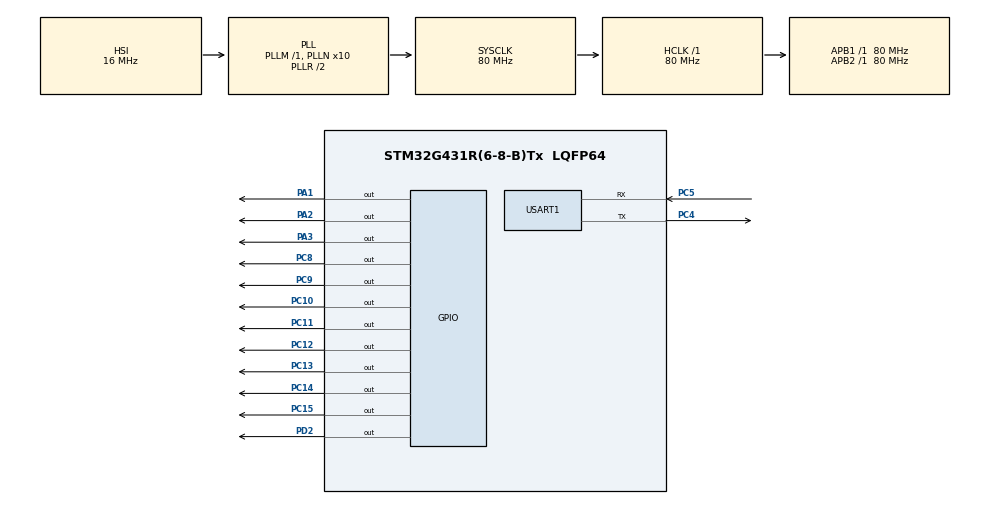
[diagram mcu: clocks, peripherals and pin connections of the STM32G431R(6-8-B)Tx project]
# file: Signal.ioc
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Mcu.Family=STM32G4
Mcu.Name=STM32G431R(6-8-B)Tx
Mcu.Package=LQFP64
NVIC.PriorityGroup=NVIC_PRIORITYGROUP_4
NVIC.TIM6_DAC_IRQn=true\:0\:0\:false\:false\:true\:true\:true\:true
NVIC.TIM7_IRQn=true\:0\:0\:false\:false\:true\:true\:true\:true
NVIC.USART1_IRQn=true\:0\:0\:false\:false\:true\:true\:true\:true
PA1.GPIO_Speed=GPIO_SPEED_FREQ_LOW
PA1.Signal=GPIO_Output
PA13.Mode=Serial_Wire
PA13.Signal=SYS_JTMS-SWDIO
PA14.Mode=Serial_Wire
PA14.Signal=SYS_JTCK-SWCLK
PA2.GPIO_Speed=GPIO_SPEED_FREQ_LOW
PA2.Signal=GPIO_Output
PA3.GPIO_Speed=GPIO_SPEED_FREQ_LOW
PA3.Signal=GPIO_Output
PC10.Signal=GPIO_Output
PC11.Signal=GPIO_Output
PC12.Signal=GPIO_Output
PC13.Signal=GPIO_Output
PC14-OSC32_IN.Signal=GPIO_Output
PC15-OSC32_OUT.Signal=GPIO_Output
PC4.Mode=Asynchronous
PC4.Signal=USART1_TX
PC5.Mode=Asynchronous
PC5.Signal=USART1_RX
PC8.Signal=GPIO_Output
PC9.Signal=GPIO_Output
PD2.Signal=GPIO_Output
PF0-OSC_IN.Mode=HSE-External-Oscillator
PF0-OSC_IN.Signal=RCC_OSC_IN
PF1-OSC_OUT.Mode=HSE-External-Oscillator
PF1-OSC_OUT.Signal=RCC_OSC_OUT
ProjectManager.HeapSize=0x200
ProjectManager.StackSize=0x400
ProjectManager.TargetToolchain=MDK-ARM V5
RCC.ADC12Freq_Value=80000000
RCC.AHBFreq_Value=80000000
RCC.APB1Freq_Value=80000000
RCC.APB1TimFreq_Value=80000000
RCC.APB2Freq_Value=80000000
RCC.APB2TimFreq_Value=80000000
RCC.CortexFreq_Value=80000000
RCC.EXTERNAL_CLOCK_VALUE=12288000
RCC.HCLKFreq_Value=80000000
RCC.HSE_VALUE=8000000
RCC.HSI48_VALUE=48000000
RCC.HSI_VALUE=16000000
RCC.LSE_VALUE=32768
RCC.PLLN=10
RCC.SYSCLKFreq_VALUE=80000000
RCC.SYSCLKSource=RCC_SYSCLKSOURCE_PLLCLK
RCC.USBFreq_Value=80000000
RCC.VCOOutputFreq_Value=160000000
TIM6.AutoReloadPreload=TIM_AUTORELOAD_PRELOAD_ENABLE
TIM6.PeriodNoDither=9999
TIM6.Prescaler=7999
TIM7.AutoReloadPreload=TIM_AUTORELOAD_PRELOAD_ENABLE
TIM7.PeriodNoDither=999
TIM7.Prescaler=79
USART1.VirtualMode-Asynchronous=VM_ASYNC
VP_SYS_VS_DBSignals.Mode=DisableDeadBatterySignals
VP_TIM6_VS_ClockSourceINT.Mode=Enable_Timer
VP_TIM7_VS_ClockSourceINT.Mode=Enable_Timer
board=custom

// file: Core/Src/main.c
/* USER CODE BEGIN Header */
/**
  ******************************************************************************
  * @file           : main.c
  * @brief          : Main program body
  ******************************************************************************
  * @attention
  *
  * Copyright (c) 2023 STMicroelectronics.
  * All rights reserved.
  *
  * This software is licensed under terms that can be found in the LICENSE file
  * in the root directory of this software component.
  * If no LICENSE file comes with this software, it is provided AS-IS.
  *
  ******************************************************************************
  */
/* USER CODE END Header */
#include "main.h"
#include "tim.h"
#include "usart.h"
#include "gpio.h"

/* USER CODE BEGIN Includes */

#include <stdio.h>
#include <stdbool.h>
#include <stdlib.h>
#include <string.h>
#include <stdarg.h>
#include "lcd.h"

/* USER CODE END Includes */

/* USER CODE BEGIN PTD */

typedef struct _DelayedAction {
	uint32_t 		delay;
	void			(*invoke)(void);
	bool			active;
	void *			next;
	void *			prev;
	void *			activate;
} DelayedAction;

/* USER CODE END PTD */

/* USER CODE BEGIN PD */

#define lds(x, s)\
	HAL_GPIO_WritePin(GPIOC, 0x80 << x, s);\
	HAL_GPIO_WritePin(GPIOD, GPIO_PIN_2, GPIO_PIN_SET);\
	HAL_GPIO_WritePin(GPIOD, GPIO_PIN_2, GPIO_PIN_RESET)

/* USER CODE END PD */

/* USER CODE BEGIN PV */

uint8_t segNum[10] = {0x3F, 0x06, 0x5B, 0x4F, 0x66, 0x6D, 0x7D, 0x07, 0x7F, 0x6F};
DelayedAction *firstAct = NULL;
DelayedAction *lastAct	= NULL;

uint8_t countdown = 0;
uint8_t ldn = 0;

/* USER CODE END PV */

void SystemClock_Config(void);
/* USER CODE BEGIN PFP */

void segShow(uint8_t, uint8_t, uint8_t);
DelayedAction *new_delay(bool, uint32_t, void(*)(void), DelayedAction *);
void appendWork(void);
void aPass(void);
void aStop(void);
void bPass(void);
void bStop(void);

/* USER CODE END PFP */

int main(void)
{

  /* MCU Configuration--------------------------------------------------------*/

  /* Reset of all peripherals, Initializes the Flash interface and the Systick. */
  HAL_Init();

  /* Configure the system clock */
  SystemClock_Config();

  /* Initialize all configured peripherals */
  MX_GPIO_Init();
  MX_TIM6_Init();
  MX_TIM7_Init();
  MX_USART1_UART_Init();
  /* USER CODE BEGIN 2 */

	HAL_GPIO_WritePin(GPIOD, GPIO_PIN_2, GPIO_PIN_RESET);

	LCD_Init();
	LCD_SetBackColor(Black);
	LCD_SetTextColor(White);
	LCD_Clear(Black);
	LCD_DisplayStringLine(Line3, (uint8_t *)"    Signal info");

	lds(1, 0);
	lds(2, 0);
	lds(3, 0);
	lds(4, 0);
	lds(5, 0);
	lds(6, 1);
	lds(7, 1);
	lds(8, 1);

	aPass();
	LCD_DisplayStringLine(Line7, (uint8_t *)"    B: Stop  ");
//	if(!new_delay( true,  1000, (Function *)aPass, NULL)) LCD_DisplayStringLine(Line9, (uint8_t *)"MALLOC FAILED");
	if(!new_delay( true, 44000, aStop, NULL)) LCD_DisplayStringLine(Line9, (uint8_t *)"MALLOC FAILED");
	if(!new_delay(false,  5000, bPass, lastAct)) LCD_DisplayStringLine(Line9, (uint8_t *)"MALLOC FAILED");
	if(!new_delay(false, 25000, bStop, lastAct)) LCD_DisplayStringLine(Line9, (uint8_t *)"MALLOC FAILED");

	HAL_Delay(32);

	HAL_TIM_Base_Start_IT(&htim6);
	HAL_TIM_Base_Start_IT(&htim7);
  /* USER CODE END 2 */

  /* Infinite loop */
  while (1)
  {

  }
}

void SystemClock_Config(void)
{
  RCC_OscInitTypeDef RCC_OscInitStruct = {0};
  RCC_ClkInitTypeDef RCC_ClkInitStruct = {0};

  /** Configure the main internal regulator output voltage
  */
  HAL_PWREx_ControlVoltageScaling(PWR_REGULATOR_VOLTAGE_SCALE1);

  /** Initializes the RCC Oscillators according to the specified parameters
  * in the RCC_OscInitTypeDef structure.
  */
  RCC_OscInitStruct.OscillatorType = RCC_OSCILLATORTYPE_HSI;
  RCC_OscInitStruct.HSIState = RCC_HSI_ON;
  RCC_OscInitStruct.HSICalibrationValue = RCC_HSICALIBRATION_DEFAULT;
  RCC_OscInitStruct.PLL.PLLState = RCC_PLL_ON;
  RCC_OscInitStruct.PLL.PLLSource = RCC_PLLSOURCE_HSI;
  RCC_OscInitStruct.PLL.PLLM = RCC_PLLM_DIV1;
  RCC_OscInitStruct.PLL.PLLN = 10;
  RCC_OscInitStruct.PLL.PLLP = RCC_PLLP_DIV2;
  RCC_OscInitStruct.PLL.PLLQ = RCC_PLLQ_DIV2;
  RCC_OscInitStruct.PLL.PLLR = RCC_PLLR_DIV2;
  if (HAL_RCC_OscConfig(&RCC_OscInitStruct) != HAL_OK)
  {
    Error_Handler();
  }

  /** Initializes the CPU, AHB and APB buses clocks
  */
  RCC_ClkInitStruct.ClockType = RCC_CLOCKTYPE_HCLK|RCC_CLOCKTYPE_SYSCLK
                              |RCC_CLOCKTYPE_PCLK1|RCC_CLOCKTYPE_PCLK2;
  RCC_ClkInitStruct.SYSCLKSource = RCC_SYSCLKSOURCE_PLLCLK;
  RCC_ClkInitStruct.AHBCLKDivider = RCC_SYSCLK_DIV1;
  RCC_ClkInitStruct.APB1CLKDivider = RCC_HCLK_DIV1;
  RCC_ClkInitStruct.APB2CLKDivider = RCC_HCLK_DIV1;

  if (HAL_RCC_ClockConfig(&RCC_ClkInitStruct, FLASH_LATENCY_2) != HAL_OK)
  {
    Error_Handler();
  }
}

/* USER CODE BEGIN 4 */

void appendWork() {
	if(!new_delay(false,  5000, aPass, lastAct)) LCD_DisplayStringLine(Line9, (uint8_t *)"MALLOC FAILED");
	if(!new_delay(false, 45000, aStop, lastAct)) LCD_DisplayStringLine(Line9, (uint8_t *)"MALLOC FAILED");
	if(!new_delay(false,  5000, bPass, lastAct)) LCD_DisplayStringLine(Line9, (uint8_t *)"MALLOC FAILED");
	if(!new_delay(false, 25000, bStop, lastAct)) LCD_DisplayStringLine(Line9, (uint8_t *)"MALLOC FAILED");
}

void HAL_TIM_PeriodElapsedCallback(TIM_HandleTypeDef *htim) {
	if(htim->Instance == TIM6) { //seg update timer, 1Hz
		if(countdown) --countdown;
		int cd10 = countdown / 10;
		segShow(0x00, cd10 ? segNum[cd10] : 0x00, segNum[countdown % 10]);
		if(ldn) lds(ldn--, 1);
		HAL_TIM_Base_Start_IT(&htim6);
	}
	if(htim->Instance == TIM7) { //delay handler timer, 1kHz
		DelayedAction *temp = NULL;
		DelayedAction *act  = NULL;
		if(firstAct == NULL) return;
		if(firstAct->active) {
			if(--(firstAct->delay) == 0) {
				firstAct->invoke();
				if(firstAct->activate) 	((DelayedAction *)firstAct->activate)->active = true;
				if(firstAct->next)		((DelayedAction *)firstAct->next)->prev = NULL;
				else					lastAct = NULL;
				temp = (DelayedAction *)firstAct->next;
				free(firstAct);
				firstAct = temp;
			}
			else temp = (DelayedAction *)firstAct->next;
		}
		else temp = (DelayedAction *)firstAct->next;

		while(temp) {
			if(temp->active) {
				if(--(temp->delay) == 0) {
					temp->invoke();
					act = temp;
					if(act->activate) 	((DelayedAction *)act->activate)->active = true;
					if(act->prev)		((DelayedAction *)act->prev)->next = act->next;
					if(act->next)		((DelayedAction *)act->next)->prev = act->prev;
					else				lastAct = NULL;
					temp = (DelayedAction *)act->next;
					free(act);
					act = NULL;
				}
				else temp = (DelayedAction *)temp->next;
			}
			else temp = (DelayedAction *)temp->next;
		}
		HAL_TIM_Base_Start_IT(&htim7);
	}
}

void aPass() {
	LCD_DisplayStringLine(Line6, (uint8_t *)"    A: Pass  ");
	countdown = 45;
	segShow(0x00, segNum[4], segNum[5]);
}

void bPass() {
	LCD_DisplayStringLine(Line7, (uint8_t *)"    B: Pass  ");
	countdown = 25;
	segShow(0x00, segNum[2], segNum[5]);
}

void aStop() {
	LCD_DisplayStringLine(Line6, (uint8_t *)"    A: Stop  ");
	lds(1, 0);
	lds(2, 0);
	lds(3, 0);
	lds(4, 0);
	lds(5, 0);
	ldn = 5;
}

void bStop() {
	LCD_DisplayStringLine(Line7, (uint8_t *)"    B: Stop  ");
	appendWork();
	lds(1, 0);
	lds(2, 0);
	lds(3, 0);
	lds(4, 0);
	lds(5, 0);
	ldn = 5;
}

DelayedAction *new_delay(bool active, uint32_t delay, void (*func)(void), DelayedAction *activatedBy) {
	DelayedAction *n = (DelayedAction *)malloc(sizeof(DelayedAction));
	n->active 		= active;
	n->invoke 		= func;
	n->delay		= delay;
	n->prev			= lastAct;
	n->next			= NULL;
	if(lastAct)lastAct->next = n;
	lastAct = n;
	if(!firstAct) firstAct = n;
	if(activatedBy) activatedBy->activate = n;
	return n;
}

void segShow(uint8_t n1, uint8_t n2, uint8_t n3) {
	HAL_GPIO_WritePin(GPIOA, GPIO_PIN_2, GPIO_PIN_RESET);
	for(int i = 8; i--; ) {
		HAL_GPIO_WritePin(GPIOA, GPIO_PIN_3, GPIO_PIN_RESET);
		HAL_GPIO_WritePin(GPIOA, GPIO_PIN_1, n3 & 128u);
		n3 <<= 1;
		HAL_GPIO_WritePin(GPIOA, GPIO_PIN_3, GPIO_PIN_RESET);
		HAL_GPIO_WritePin(GPIOA, GPIO_PIN_3, GPIO_PIN_SET);
	}
	for(int i = 8; i--; ) {
		HAL_GPIO_WritePin(GPIOA, GPIO_PIN_3, GPIO_PIN_RESET);
		HAL_GPIO_WritePin(GPIOA, GPIO_PIN_1, n2 & 128u);
		n2 <<= 1;
		HAL_GPIO_WritePin(GPIOA, GPIO_PIN_3, GPIO_PIN_RESET);
		HAL_GPIO_WritePin(GPIOA, GPIO_PIN_3, GPIO_PIN_SET);
	}
	for(int i = 8; i--; ) {
		HAL_GPIO_WritePin(GPIOA, GPIO_PIN_3, GPIO_PIN_RESET);
		HAL_GPIO_WritePin(GPIOA, GPIO_PIN_1, n1 & 128u);
		n1 <<= 1;
		HAL_GPIO_WritePin(GPIOA, GPIO_PIN_3, GPIO_PIN_RESET);
		HAL_GPIO_WritePin(GPIOA, GPIO_PIN_3, GPIO_PIN_SET);
	}
	HAL_GPIO_WritePin(GPIOA, GPIO_PIN_2, GPIO_PIN_RESET);
	HAL_GPIO_WritePin(GPIOA, GPIO_PIN_2, GPIO_PIN_SET);
}

/* USER CODE END 4 */

void Error_Handler(void)
{
  __disable_irq();
  while (1)
  {
  }
}
